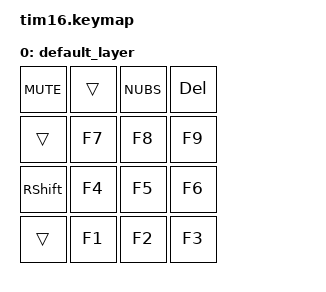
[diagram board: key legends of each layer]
#include <behaviors.dtsi>
#include <dt-bindings/zmk/keys.h>
#include <dt-bindings/zmk/bt.h>
#include <dt-bindings/zmk/outputs.h>

/ {
    keymap {
        compatible = "zmk,keymap";

        default_layer {
// -------------------------------------------------------------
// | Mute Mic|fast scroll|  \    |   DEL   |
// |changevol|    F7   |    F8   |   F9    |
// |  Shift  |    F4   |    F5   |   F6    |
// |  FUNC   |    F1   |    F2   |   F3    |

            bindings = <
                &kp C_MUTE &trans   &kp NUBS &kp DEL
                &trans     &kp F7   &kp F8   &kp F9
                &kp RSHIFT &kp F4   &kp F5   &kp F6
                &trans     &kp F1   &kp F2   &kp F3
            >;

        };
    };
};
